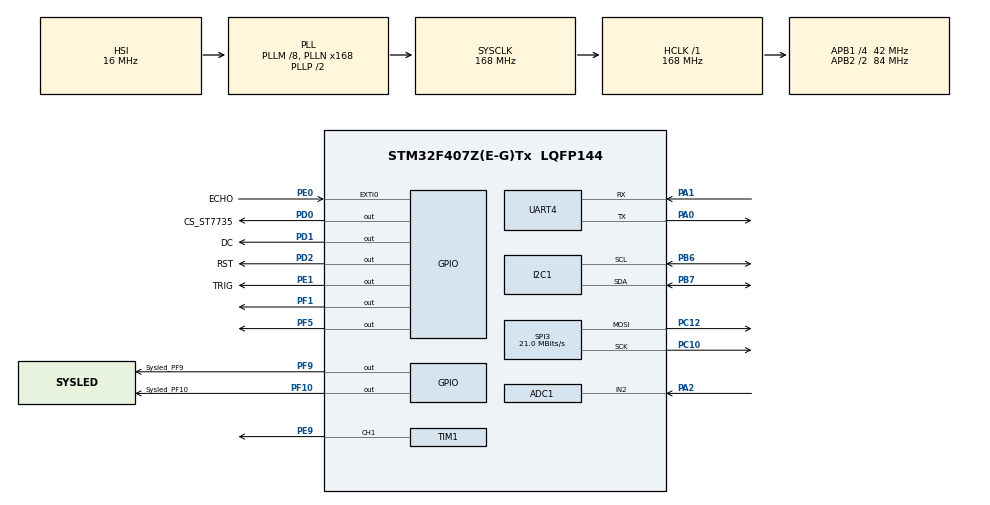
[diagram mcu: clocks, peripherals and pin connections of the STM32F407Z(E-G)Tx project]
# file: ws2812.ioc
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ADC1.Channel-0\#ChannelRegularConversion=ADC_CHANNEL_2
ADC1.NbrOfConversionFlag=1
ADC1.Rank-0\#ChannelRegularConversion=1
ADC1.SamplingTime-0\#ChannelRegularConversion=ADC_SAMPLETIME_3CYCLES
ADC1.master=1
Dma.Request0=TIM1_CH1
Dma.Request1=SPI3_TX
Dma.SPI3_TX.1.Direction=DMA_MEMORY_TO_PERIPH
Dma.SPI3_TX.1.FIFOMode=DMA_FIFOMODE_DISABLE
Dma.SPI3_TX.1.Instance=DMA1_Stream5
Dma.SPI3_TX.1.MemDataAlignment=DMA_MDATAALIGN_BYTE
Dma.SPI3_TX.1.MemInc=DMA_MINC_ENABLE
Dma.SPI3_TX.1.Mode=DMA_CIRCULAR
Dma.SPI3_TX.1.PeriphDataAlignment=DMA_PDATAALIGN_BYTE
Dma.SPI3_TX.1.PeriphInc=DMA_PINC_DISABLE
Dma.SPI3_TX.1.Priority=DMA_PRIORITY_LOW
Dma.TIM1_CH1.0.Direction=DMA_MEMORY_TO_PERIPH
Dma.TIM1_CH1.0.FIFOMode=DMA_FIFOMODE_DISABLE
Dma.TIM1_CH1.0.Instance=DMA2_Stream1
Dma.TIM1_CH1.0.MemDataAlignment=DMA_MDATAALIGN_HALFWORD
Dma.TIM1_CH1.0.MemInc=DMA_MINC_ENABLE
Dma.TIM1_CH1.0.Mode=DMA_NORMAL
Dma.TIM1_CH1.0.PeriphDataAlignment=DMA_PDATAALIGN_HALFWORD
Dma.TIM1_CH1.0.PeriphInc=DMA_PINC_DISABLE
Dma.TIM1_CH1.0.Priority=DMA_PRIORITY_LOW
Mcu.Family=STM32F4
Mcu.Name=STM32F407Z(E-G)Tx
Mcu.Package=LQFP144
NVIC.ADC_IRQn=true\:0\:0\:false\:false\:true\:true\:true
NVIC.DMA1_Stream5_IRQn=true\:0\:0\:false\:false\:true\:false\:true
NVIC.DMA2_Stream1_IRQn=true\:0\:0\:false\:false\:true\:false\:true
NVIC.EXTI0_IRQn=true\:0\:0\:false\:false\:true\:true\:true
NVIC.I2C1_ER_IRQn=true\:0\:0\:false\:false\:true\:true\:true
NVIC.I2C1_EV_IRQn=true\:0\:0\:false\:false\:true\:true\:true
NVIC.PriorityGroup=NVIC_PRIORITYGROUP_4
NVIC.UART4_IRQn=true\:0\:0\:false\:false\:true\:true\:true
PA0-WKUP.Mode=Asynchronous
PA0-WKUP.Signal=UART4_TX
PA1.Mode=Asynchronous
PA1.Signal=UART4_RX
PA13.Mode=Serial_Wire
PA13.Signal=SYS_JTMS-SWDIO
PA14.Mode=Serial_Wire
PA14.Signal=SYS_JTCK-SWCLK
PA2.Signal=ADCx_IN2
PB6.Mode=I2C
PB6.Signal=I2C1_SCL
PB7.Mode=I2C
PB7.Signal=I2C1_SDA
PC10.Mode=TX_Only_Simplex_Unidirect_Master
PC10.Signal=SPI3_SCK
PC12.Mode=TX_Only_Simplex_Unidirect_Master
PC12.Signal=SPI3_MOSI
PD0.GPIO_Label=CS_ST7735
PD0.GPIO_PuPd=GPIO_PULLUP
PD0.GPIO_Speed=GPIO_SPEED_FREQ_VERY_HIGH
PD0.PinState=GPIO_PIN_SET
PD0.Signal=GPIO_Output
PD1.GPIO_Label=DC
PD1.GPIO_PuPd=GPIO_PULLUP
PD1.GPIO_Speed=GPIO_SPEED_FREQ_VERY_HIGH
PD1.PinState=GPIO_PIN_SET
PD1.Signal=GPIO_Output
PD2.GPIO_Label=RST
PD2.GPIO_PuPd=GPIO_PULLUP
PD2.GPIO_Speed=GPIO_SPEED_FREQ_VERY_HIGH
PD2.PinState=GPIO_PIN_SET
PD2.Signal=GPIO_Output
PE0.GPIO_Label=ECHO
PE0.Signal=GPXTI0
PE1.GPIO_Label=TRIG
PE1.GPIO_Speed=GPIO_SPEED_FREQ_VERY_HIGH
PE1.Signal=GPIO_Output
PE9.Signal=S_TIM1_CH1
PF1.Signal=GPIO_Output
PF10.GPIO_Label=Sysled_PF10
PF10.PinState=GPIO_PIN_SET
PF10.Signal=GPIO_Output
PF5.Signal=GPIO_Output
PF9.GPIO_Label=Sysled_PF9
PF9.PinState=GPIO_PIN_SET
PF9.Signal=GPIO_Output
PH0-OSC_IN.Mode=HSE-External-Oscillator
PH0-OSC_IN.Signal=RCC_OSC_IN
PH1-OSC_OUT.Mode=HSE-External-Oscillator
PH1-OSC_OUT.Signal=RCC_OSC_OUT
ProjectManager.HeapSize=0x200
ProjectManager.StackSize=0x400
ProjectManager.TargetToolchain=STM32CubeIDE
RCC.48MHZClocksFreq_Value=84000000
RCC.AHBFreq_Value=168000000
RCC.APB1CLKDivider=RCC_HCLK_DIV4
RCC.APB1Freq_Value=42000000
RCC.APB1TimFreq_Value=84000000
RCC.APB2CLKDivider=RCC_HCLK_DIV2
RCC.APB2Freq_Value=84000000
RCC.APB2TimFreq_Value=168000000
RCC.CortexFreq_Value=168000000
RCC.HCLKFreq_Value=168000000
RCC.HSE_VALUE=25000000
RCC.HSI_VALUE=16000000
RCC.LSE_VALUE=32768
RCC.PLLM=8
RCC.PLLN=168
RCC.SYSCLKFreq_VALUE=168000000
RCC.SYSCLKSource=RCC_SYSCLKSOURCE_PLLCLK
RCC.VCOOutputFreq_Value=336000000
SH.ADCx_IN2.0=ADC1_IN2,IN2
SH.S_TIM1_CH1.0=TIM1_CH1,PWM Generation1 CH1
SPI3.CalculateBaudRate=21.0 MBits/s
SPI3.Direction=SPI_DIRECTION_2LINES
SPI3.Mode=SPI_MODE_MASTER
SPI3.VirtualType=VM_MASTER
TIM1.AutoReloadPreload=TIM_AUTORELOAD_PRELOAD_ENABLE
TIM1.Channel-PWM\ Generation1\ CH1=TIM_CHANNEL_1
TIM1.OCFastMode_PWM-PWM\ Generation1\ CH1=TIM_OCFAST_ENABLE
TIM1.Period=213
TIM7.Prescaler=84
UART4.VirtualMode=Asynchronous
VP_TIM7_VS_ClockSourceINT.Mode=Enable_Timer
board=custom

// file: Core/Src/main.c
/* USER CODE BEGIN Header */
/**
  ******************************************************************************
  * @file           : main.c
  * @brief          : Main program body
  ******************************************************************************
  * @attention
  *
  * <h2><center>&copy; Copyright (c) 2022 STMicroelectronics.
  * All rights reserved.</center></h2>
  *
  * This software component is licensed by ST under BSD 3-Clause license,
  * the "License"; You may not use this file except in compliance with the
  * License. You may obtain a copy of the License at:
  *                        opensource.org/licenses/BSD-3-Clause
  *
  ******************************************************************************
  */
/* USER CODE END Header */
#include "main.h"
#include "adc.h"
#include "dma.h"
#include "i2c.h"
#include "spi.h"
#include "tim.h"
#include "usart.h"
#include "gpio.h"

void SystemClock_Config(void);

int main(void)
{

  /* MCU Configuration--------------------------------------------------------*/

  /* Reset of all peripherals, Initializes the Flash interface and the Systick. */
  HAL_Init();

  /* Configure the system clock */
  SystemClock_Config();

  /* Initialize all configured peripherals */
  MX_GPIO_Init();
  MX_DMA_Init();
  MX_TIM1_Init();
  MX_ADC1_Init();
  MX_UART4_Init();
  MX_SPI3_Init();
  MX_I2C1_Init();
  MX_TIM7_Init();
  /* USER CODE BEGIN 2 */
  InitGTimers();
  InitMessages();
  /* USER CODE END 2 */
  DWT_Init();

   __HAL_SPI_ENABLE(&hspi3);
   _delay_ms(1);
   ST7735Init();
   _delay_ms(5);
   St7735FillScreen(FONE);
   _delay_ms(200);

   TFTDrawString(0,2,YELLOW,FONE,"Dis:",2);
   TFTDrawString(0,18, GREEN,FONE, "U=",2);
   TFTDrawString(95,18, GREEN,FONE, "mV",2);

   TFTDrawString(20,34,ORANGE,FONE,"Si7021",2);
   TFTDrawString(0,50,GREEN,FONE,"H:",2);
   TFTDrawString(0,66,GREEN,FONE,"T:",2);

   TFTDrawString(20,89,ORANGE,FONE,"BMP180",2);
   TFTDrawString(0,107,GREEN,FONE,"P:",2);
   TFTDrawString(85,107,GREEN,FONE,"mm",2);
   TFTDrawString(0,125,GREEN,FONE,"T:",2);

  /* Infinite loop */
  /* USER CODE BEGIN WHILE */
  while (1)  {

  	  StartGTimer(timer_process_ws2812,TIME_LEDLINE);
  	  if(ExpGTimer(timer_process_ws2812)) {
  		RUN_LedLine();
  	  }

volatile static u08 time_color=40;
volatile static u08 func_color=0;

  	  StartGTimer(timer_smooth_change_color,time_color);
  	  if(ExpGTimer(timer_smooth_change_color)){
  		  switch(func_color){
  		  	  case 0:
  		  		  ColorSnake();
  		  		  break;
  		  	  case 1:
  		  		  RunningColor2();
  		  		  break;
  		  }
  	  }

  	  volatile static u08 step_fc=1;
  	  StartGTimer(timer_change_func_color,5000);
  	  if(ExpGTimer(timer_change_func_color)){
		  switch(step_fc){
			  case 0:
				  time_color=40;
				  step_fc=1;
				  func_color=0;
				  break;
			  case 1:
				  time_color=2;
				  step_fc=0;
				  func_color=1;
				  break;
		  }
  	  }

	  StartGTimer(timer_led,1000);
	  if(ExpGTimer(timer_led)) {
		  TB(GPIOF,Sysled_PF9_Pin);
	  }//i

	  //Run HCSR-04
	  StartTrig();
	  Alg_HCSR();

	  //Run log at UART
	  StartGTimer(timer_uart,300);
	  if(ExpGTimer(timer_uart)) {
		  SendTextUart(" ",1);
		  SendTextUart("adc1  ",0);
		  SendTrimDigitUart(AdcResult_get_data_mv(),5,1);

		 SendTextUart("BMP180:",0);
		 SendTextUart("  Temp= ",0);
		 SendTrimDigitUart(Temp_BMP180_get_data()/10,3,0);
		 SendTextUart(".",0);
		 SendTrimDigitUart(Temp_BMP180_get_data()%10,1,0);
		 SendTextUart(" C",0);
		 SendTextUart("  Pres=",0);
		 SendTrimDigitUart(Pres_BMP180_get_data(),3,0);
		 SendTextUart(" mm",0);

		 SendTextUart("    Si7021:",0);
		 SendTextUart("  Temp= ",0);
		 SendTrimDigitUart(Temp_Si7021_get_data()/10,3,0);
		 SendTextUart(".",0);
		 SendTrimDigitUart(Temp_Si7021_get_data()%10,1,0);
		 SendTextUart(" C",0);
		 SendTextUart("  Hum=",0);
		 SendTrimDigitUart(Hum_Si7021_get_data(),3,0);
		 SendTextUart(" %",1);

		  TFTDrawUT32(32,18,GREEN,FONE,AdcResult_get_data_mv(),4,2);
	  }//i
	//--------------------------------------------------
	  StartGTimer(timer_start_adc,2);
	  if(ExpGTimer(timer_start_adc)) {
		  HAL_ADC_Start_IT(&hadc1);
	  }

	  StartGTimer(timer_start_i2c,2000);
	  if(ExpGTimer(timer_start_i2c)){
		  ShedulerI2C(BMP180);
		  ShedulerI2C(Si7021);
	  }
	//--------------------------------------------------
	ProcessShedulerI2c();
	//--------------------------------------------------
	ProcessShedulerUart(&huart4);
	//--------------------------------------------------
	ProcessMessages();
	//--------------------------------------------------
    /* USER CODE END WHILE */

  }
}
void SystemClock_Config(void)
{
  RCC_OscInitTypeDef RCC_OscInitStruct = {0};
  RCC_ClkInitTypeDef RCC_ClkInitStruct = {0};

  /** Configure the main internal regulator output voltage
  */
  __HAL_RCC_PWR_CLK_ENABLE();
  __HAL_PWR_VOLTAGESCALING_CONFIG(PWR_REGULATOR_VOLTAGE_SCALE1);
  /** Initializes the RCC Oscillators according to the specified parameters
  * in the RCC_OscInitTypeDef structure.
  */
  RCC_OscInitStruct.OscillatorType = RCC_OSCILLATORTYPE_HSI;
  RCC_OscInitStruct.HSIState = RCC_HSI_ON;
  RCC_OscInitStruct.HSICalibrationValue = RCC_HSICALIBRATION_DEFAULT;
  RCC_OscInitStruct.PLL.PLLState = RCC_PLL_ON;
  RCC_OscInitStruct.PLL.PLLSource = RCC_PLLSOURCE_HSI;
  RCC_OscInitStruct.PLL.PLLM = 8;
  RCC_OscInitStruct.PLL.PLLN = 168;
  RCC_OscInitStruct.PLL.PLLP = RCC_PLLP_DIV2;
  RCC_OscInitStruct.PLL.PLLQ = 4;
  if (HAL_RCC_OscConfig(&RCC_OscInitStruct) != HAL_OK)
  {
    Error_Handler();
  }
  /** Initializes the CPU, AHB and APB buses clocks
  */
  RCC_ClkInitStruct.ClockType = RCC_CLOCKTYPE_HCLK|RCC_CLOCKTYPE_SYSCLK
                              |RCC_CLOCKTYPE_PCLK1|RCC_CLOCKTYPE_PCLK2;
  RCC_ClkInitStruct.SYSCLKSource = RCC_SYSCLKSOURCE_PLLCLK;
  RCC_ClkInitStruct.AHBCLKDivider = RCC_SYSCLK_DIV1;
  RCC_ClkInitStruct.APB1CLKDivider = RCC_HCLK_DIV4;
  RCC_ClkInitStruct.APB2CLKDivider = RCC_HCLK_DIV2;

  if (HAL_RCC_ClockConfig(&RCC_ClkInitStruct, FLASH_LATENCY_5) != HAL_OK)
  {
    Error_Handler();
  }
}

void Error_Handler(void)
{
  __disable_irq();
  while (1)
  {
  }
}

/************************ (C) COPYRIGHT STMicroelectronics *****END OF FILE****/
